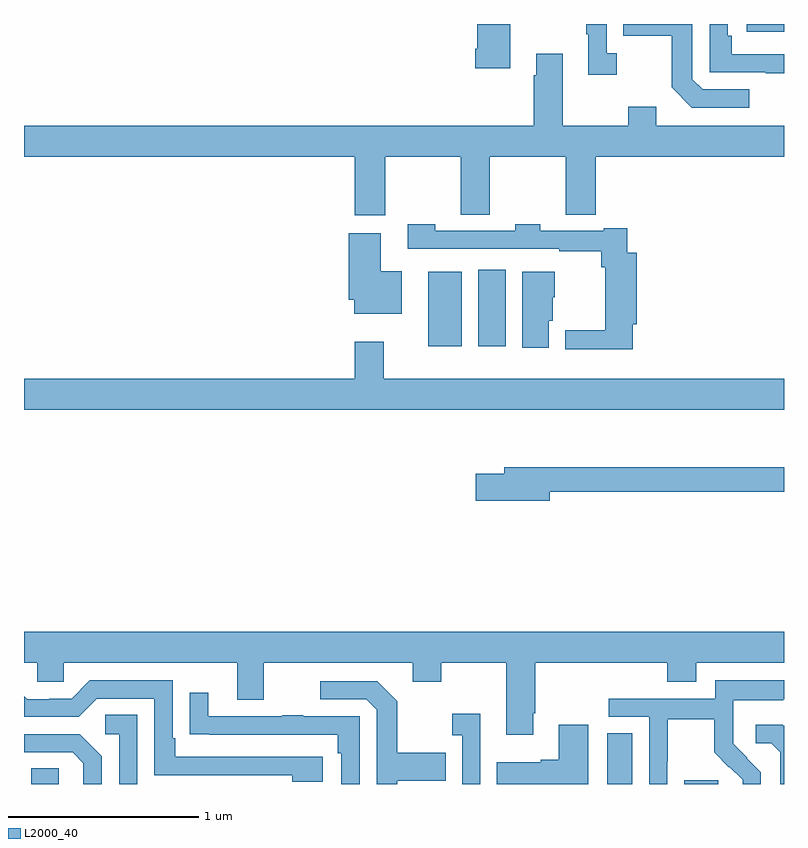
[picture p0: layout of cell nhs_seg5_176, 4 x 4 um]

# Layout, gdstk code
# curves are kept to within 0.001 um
import gdstk
lib = gdstk.Library(unit=1e-6, precision=1e-09)
def R(c, l, rs):  # rectangles x0, y0, x1, y1
    for r in rs: c.add(gdstk.rectangle(r[:2], r[2:], *l))
def P(c, l, *ps):  # polygons
    for p in ps: c.add(gdstk.Polygon(p, *l))
L2000_40 = (2000, 40)

nhs_seg5_176 = lib.new_cell('nhs_seg5_176')
R(nhs_seg5_176, L2000_40, [(121.037,846.799,121.182,846.881), (124.07,846.799,124.201,847.067), (124.475,846.799,124.654,846.819), (123.128,849.104,123.304,849.496), (123.392,849.104,123.535,849.505), (124.803,850.758,125,850.799)])
P(nhs_seg5_176, L2000_40, [(124.12,850.646),(124.068,850.646),(124.068,850.799),(123.96,850.799),(123.96,850.745),(123.971,850.745),(123.971,850.533),(124.12,850.533)],
  [(123.559,850.799),(123.386,850.799),(123.386,850.669),(123.374,850.669),(123.374,850.565),(123.559,850.565)],
  [(125,850.641),(124.724,850.641),(124.724,850.738),(124.704,850.738),(124.704,850.799),(124.608,850.799),(124.608,850.545),(124.903,850.545),(124.903,850.54),(125,850.54)],
  [(124.816,850.455),(124.572,850.455),(124.518,850.509),(124.518,850.799),(124.153,850.799),(124.153,850.738),(124.41,850.738),(124.41,850.465),(124.515,850.359),(124.816,850.359)],
  [(122.901,850.1),(123.298,850.1),(123.298,849.796),(123.452,849.796),(123.452,850.1),(123.85,850.1),(123.85,849.796),(124.01,849.796),(124.01,850.1),(125,850.1),(125,850.264),(124.327,850.264),(124.327,850.363),(124.18,850.363),(124.18,850.264),(123.835,850.264),(123.835,850.642),(123.695,850.642),(123.695,850.529),(123.683,850.529),(123.683,850.264),(121,850.264),(121,850.1),(122.741,850.1),(122.741,849.792),(122.901,849.792)],
  [(124.205,849.219),(124.226,849.219),(124.226,849.595),(124.175,849.595),(124.175,849.724),(124.052,849.724),(124.052,849.711),(123.717,849.711),(123.717,849.744),(123.585,849.744),(123.585,849.711),(123.165,849.711),(123.165,849.744),(123.021,849.744),(123.021,849.615),(123.817,849.615),(123.817,849.603),(124.039,849.603),(124.039,849.518),(124.058,849.518),(124.058,849.188),(123.849,849.188),(123.849,849.086),(124.205,849.086)],
  [(122.989,849.499),(122.878,849.499),(122.878,849.697),(122.708,849.697),(122.708,849.348),(122.738,849.348),(122.738,849.275),(122.989,849.275)],
  [(123.763,849.237),(123.784,849.237),(123.784,849.36),(123.793,849.36),(123.793,849.496),(123.623,849.496),(123.623,849.096),(123.763,849.096)],
  [(125,848.932),(122.893,848.932),(122.893,849.127),(122.741,849.127),(122.741,848.932),(121,848.932),(121,848.768),(125,848.768)],
  [(123.766,848.338),(125,848.338),(125,848.467),(123.527,848.467),(123.527,848.433),(123.378,848.433),(123.378,848.291),(123.766,848.291)],
  [(123.679,847.171),(123.692,847.171),(123.692,847.436),(124.385,847.436),(124.385,847.337),(124.537,847.337),(124.537,847.436),(125,847.436),(125,847.6),(121,847.6),(121,847.436),(121.071,847.436),(121.071,847.338),(121.209,847.338),(121.209,847.436),(122.123,847.436),(122.123,847.242),(122.263,847.242),(122.263,847.436),(123.047,847.436),(123.047,847.337),(123.195,847.337),(123.195,847.436),(123.539,847.436),(123.539,847.059),(123.679,847.059)],
  [(124.386,846.916),(124.389,846.916),(124.389,847.14),(124.633,847.14),(124.633,846.965),(124.71,846.888),(124.713,846.891),(124.784,846.821),(124.784,846.799),(124.878,846.799),(124.878,846.862),(124.732,847.01),(124.732,847.107),(124.734,847.107),(124.734,847.241),(124.997,847.241),(124.997,847.245),(125,847.245),(125,847.345),(124.638,847.345),(124.638,847.248),(124.077,847.248),(124.077,847.152),(124.29,847.152),(124.29,846.799),(124.386,846.799)],
  [(122.572,846.942),(121.795,846.942),(121.795,847.039),(121.782,847.039),(121.782,847.344),(121.347,847.344),(121.251,847.248),(121.133,847.248),(121.133,847.245),(121.017,847.245),(121,847.262),(121,847.152),(121.287,847.152),(121.383,847.248),(121.686,847.248),(121.686,846.846),(122.411,846.846),(122.411,846.812),(122.572,846.812)],
  [(122.965,846.815),(123.221,846.815),(123.221,846.963),(122.965,846.963),(122.965,847.235),(122.859,847.341),(122.559,847.341),(122.559,847.245),(122.802,847.245),(122.856,847.191),(122.856,846.799),(122.965,846.799)],
  [(122.766,847.155),(122.471,847.155),(122.471,847.16),(122.359,847.16),(122.359,847.155),(121.969,847.155),(121.969,847.279),(121.873,847.279),(121.873,847.06),(121.975,847.06),(121.975,847.059),(122.65,847.059),(122.65,846.962),(122.67,846.962),(122.67,846.799),(122.766,846.799)],
  [(123.402,847.168),(123.255,847.168),(123.255,847.055),(123.306,847.055),(123.306,846.799),(123.402,846.799)],
  [(121.596,847.163),(121.428,847.163),(121.428,847.062),(121.5,847.062),(121.5,846.799),(121.596,846.799)],
  [(125,847.105),(124.994,847.111),(124.851,847.111),(124.851,847.014),(124.932,847.014),(124.979,846.967),(124.979,846.799),(125,846.799)],
  [(123.97,847.111),(123.815,847.111),(123.815,846.926),(123.719,846.926),(123.719,846.913),(123.489,846.913),(123.489,846.799),(123.97,846.799)],
  [(121.41,846.946),(121.294,847.062),(121,847.062),(121,846.966),(121.256,846.966),(121.313,846.909),(121.313,846.799),(121.41,846.799)])

lib.write_gds('nhs_seg5_176.gds')
